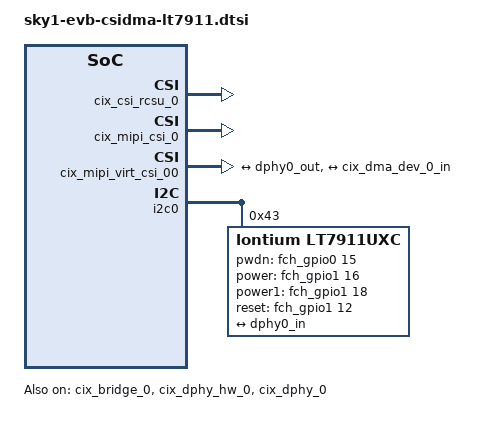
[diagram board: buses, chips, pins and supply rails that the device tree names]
// SPDX-License-Identifier: GPL-2.0
/*
 * Copyright 2024 Cix Technology Group Co., Ltd.
 */
&cix_dma_dev_0 {
	sync = <0>;
	cix,rcsu = <&cix_csi_rcsu_0>;
	cix,hw = <&cix_bridge_0>;
	status = "okay";
	iommus = <&smmu_mmhub 0x21>;
	port {
		cix_dma_dev_0_in: endpoint {
			remote-endpoint = <&mipi_csi2_virt00_out>;
		};
	};
};

&cix_csi_rcsu_0 {
	status = "okay";
};

&cix_bridge_0 {
	status = "okay";
};

&cix_mipi_csi_0 {
	lanes = <4>;
	status = "okay";
};

&cix_mipi_virt_csi_00 {
	status = "okay";
	ports {
		#address-cells = <1>;
		#size-cells = <0>;
		port@0 {
			reg = <0>;
			#address-cells = <1>;
			#size-cells = <0>;
			mipi_csi2_virt00_in: endpoint@1 {
				reg = <1>;
				remote-endpoint = <&dphy0_out>;
			};
		};
		port@1 {
			reg = <1>;
			#address-cells = <1>;
			#size-cells = <0>;
			mipi_csi2_virt00_out: endpoint@0 {
				reg = <0>;
				remote-endpoint = <&cix_dma_dev_0_in>;
			};
		};
	};
};

&cix_dphy_hw_0 {
	status = "okay";
};

&cix_dphy_0 {
	status = "okay";
	#address-cells = <1>;
	#size-cells = <0>;
	ports {
		#address-cells = <1>;
		#size-cells = <0>;
		port@0 {
			reg = <0>;
			#address-cells = <1>;
			#size-cells = <0>;
			dphy0_in: endpoint@1 {
				reg = <1>;
				remote-endpoint = <&lt7911uxc_out>;
				data-lanes = <1 2 3 4>;
				clock-lanes = <0>;
			};
		};

		port@1 {
			reg = <1>;
			#address-cells = <1>;
			#size-cells = <0>;
			dphy0_out: endpoint@0 {
				reg = <0>;
				remote-endpoint = <&mipi_csi2_virt00_in>;
			};
		};
	};
};

&i2c0 {
	lt7911uxc: lt7911uxc@43 {
		compatible = "lontium,lt7911uxc";
		#sound-dai-cells = <0>;
		#address-cells = <1>;
		#size-cells = <0>;
		reg = <0x43>;
		/*interrupt-parent = <&gpio0>;*/
		/*interrupts = <RK_PB7 IRQ_TYPE_EDGE_RISING>;*/
		pinctrl-names = "default","gpio";
		pinctrl-0 = <&pinctrl_lt7911_hw>;
		pinctrl-1 = <&pinctrl_lt7911_hw>;
		pwdn-gpios = <&fch_gpio0 15 GPIO_ACTIVE_HIGH>;
		power-gpios = <&fch_gpio1 16 GPIO_ACTIVE_HIGH>;
		power1-gpios = <&fch_gpio1 18 GPIO_ACTIVE_HIGH>;
		reset-gpios = <&fch_gpio1 12 GPIO_ACTIVE_HIGH>;
		status = "okay";
		port {
			lt7911uxc_out: endpoint {
				remote-endpoint = <&dphy0_in>;
				data-lanes = <4>;
				clock-lanes = <0>;
			};
		};
	};
};
